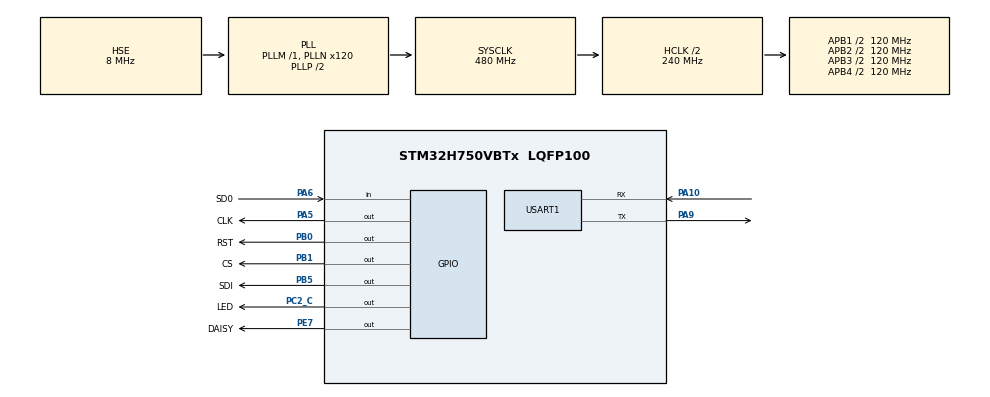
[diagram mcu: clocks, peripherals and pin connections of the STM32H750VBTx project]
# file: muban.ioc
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CORTEX_M7.CPU_DCache=Enabled
CORTEX_M7.CPU_ICache=Enabled
Mcu.Family=STM32H7
Mcu.Name=STM32H750VBTx
Mcu.Package=LQFP100
NVIC.PriorityGroup=NVIC_PRIORITYGROUP_4
NVIC.TIM1_UP_IRQn=true\:0\:0\:false\:false\:true\:true\:true
NVIC.TIM2_IRQn=true\:0\:0\:false\:false\:true\:true\:true
NVIC.USART1_IRQn=true\:0\:0\:false\:false\:true\:true\:true
PA10.Mode=Asynchronous
PA10.Signal=USART1_RX
PA13\ (JTMS/SWDIO).Mode=Serial_Wire
PA13\ (JTMS/SWDIO).Signal=DEBUG_JTMS-SWDIO
PA14\ (JTCK/SWCLK).Mode=Serial_Wire
PA14\ (JTCK/SWCLK).Signal=DEBUG_JTCK-SWCLK
PA5.GPIO_Label=CLK
PA5.Signal=GPIO_Output
PA6.GPIO_Label=SD0
PA6.Signal=GPIO_Input
PA9.Mode=Asynchronous
PA9.Signal=USART1_TX
PB0.GPIO_Label=RST
PB0.Signal=GPIO_Output
PB1.GPIO_Label=CS
PB1.Signal=GPIO_Output
PB5.GPIO_Label=SDI
PB5.Signal=GPIO_Output
PC2_C.GPIO_Label=LED
PC2_C.Signal=GPIO_Output
PE7.GPIO_Label=DAISY
PE7.Signal=GPIO_Output
PH0-OSC_IN\ (PH0).Mode=HSE-External-Oscillator
PH0-OSC_IN\ (PH0).Signal=RCC_OSC_IN
PH1-OSC_OUT\ (PH1).Mode=HSE-External-Oscillator
PH1-OSC_OUT\ (PH1).Signal=RCC_OSC_OUT
ProjectManager.HeapSize=0x200
ProjectManager.StackSize=0x400
ProjectManager.TargetToolchain=MDK-ARM V5.27
RCC.ADCFreq_Value=72000000
RCC.APB1Freq_Value=120000000
RCC.APB2Freq_Value=120000000
RCC.APB3Freq_Value=120000000
RCC.APB4Freq_Value=120000000
RCC.CortexFreq_Value=480000000
RCC.D1PPRE=RCC_APB3_DIV2
RCC.D2PPRE1=RCC_APB1_DIV2
RCC.D2PPRE2=RCC_APB2_DIV2
RCC.D3PPRE=RCC_APB4_DIV2
RCC.DIVM1=1
RCC.DIVM2=1
RCC.DIVN1=120
RCC.DIVN2=27
RCC.DIVP2=3
RCC.DIVQ1=8
RCC.HCLKFreq_Value=240000000
RCC.HPRE=RCC_HCLK_DIV2
RCC.HSE_VALUE=8000000
RCC.PLL2FRACN=0
RCC.PLL3FRACN=0
RCC.PLLFRACN=0
RCC.PLLSourceVirtual=RCC_PLLSOURCE_HSE
RCC.SYSCLKFreq_VALUE=480000000
RCC.SYSCLKSource=RCC_SYSCLKSOURCE_PLLCLK
RCC.USBFreq_Value=120000000
TIM1.AutoReloadPreload=TIM_AUTORELOAD_PRELOAD_ENABLE
TIM1.Period=10000-1
TIM1.Prescaler=24000-1
TIM2.AutoReloadPreload=TIM_AUTORELOAD_PRELOAD_ENABLE
TIM2.Period=10-1
TIM2.Prescaler=240-1
USART1.VirtualMode-Asynchronous=VM_ASYNC
VP_TIM1_VS_ClockSourceINT.Mode=Internal
VP_TIM2_VS_ClockSourceINT.Mode=Internal
board=custom

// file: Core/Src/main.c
/* USER CODE BEGIN Header */
/**
  ******************************************************************************
  * @file           : main.c
  * @brief          : Main program body
  ******************************************************************************
  * @attention
  *
  * <h2><center>&copy; Copyright (c) 2021 STMicroelectronics.
  * All rights reserved.</center></h2>
  *
  * This software component is licensed by ST under BSD 3-Clause license,
  * the "License"; You may not use this file except in compliance with the
  * License. You may obtain a copy of the License at:
  *                        opensource.org/licenses/BSD-3-Clause
  *
  ******************************************************************************
  */
/* USER CODE END Header */
#include "main.h"
#include "tim.h"
#include "usart.h"
#include "gpio.h"

/* USER CODE BEGIN Includes */
#include "stdio.h"
#include "arm_math.h"
#include "arm_const_structs.h"
#include "ads8688.h"
/* USER CODE END Includes */

/* USER CODE BEGIN PV */
uint16_t value[10000];//为啥放10000呢，我喜欢，哈哈哈哈。实际开发中记得用#define
uint32_t i;
/* USER CODE END PV */

void SystemClock_Config(void);

int main(void)
{
    /* Enable I-Cache---------------------------------------------------------*/
    SCB_EnableICache();
    /* Enable D-Cache---------------------------------------------------------*/
    SCB_EnableDCache();
    /* MCU Configuration--------------------------------------------------------*/
    /* Reset of all peripherals, Initializes the Flash interface and the Systick. */
    HAL_Init();
    /* Configure the system clock */
    SystemClock_Config();
    /* Initialize all configured peripherals */
    MX_GPIO_Init();
    MX_USART1_UART_Init();
    MX_TIM1_Init();
    MX_TIM2_Init();
    /* USER CODE BEGIN 2 */

    ADS8688_Init(CH0_EN | CH1_EN | CH2_EN | CH3_EN | CH4_EN | CH5_EN | CH6_EN | CH7_EN);

    Set_CH_Range(CHIR_0, ADS8688_IR_N2_5V);
    Set_CH_Range(CHIR_1, ADS8688_IR_N2_5V);
    Set_CH_Range(CHIR_2, ADS8688_IR_N2_5V);
    Set_CH_Range(CHIR_3, ADS8688_IR_N2_5V);
    Set_CH_Range(CHIR_4, ADS8688_IR_N2_5V);
    Set_CH_Range(CHIR_5, ADS8688_IR_N2_5V);
    Set_CH_Range(CHIR_6, ADS8688_IR_N2_5V);
    Set_CH_Range(CHIR_7, ADS8688_IR_N2_5V);
    MAN_CH_Mode(MAN_CH_0);

    value[0] = Get_MAN_CH_Mode_Data();//单次采集一次
    printf("%.2f\n", value[0] * 20.48 / 65536 - 10.24);//转换关系和采样范围有关，详见ads8688.h

    HAL_TIM_Base_Start_IT(&htim2); //用定时器去以一定频率采样

    /* USER CODE END 2 */

    /* Infinite loop */
    /* USER CODE BEGIN WHILE */
    while (1)
    {
        HAL_GPIO_TogglePin(LED_GPIO_Port, LED_Pin);
        HAL_Delay(500);
        /* USER CODE END WHILE */
    }
}

void SystemClock_Config(void)
{
    RCC_OscInitTypeDef RCC_OscInitStruct = {0};
    RCC_ClkInitTypeDef RCC_ClkInitStruct = {0};
    /** Supply configuration update enable
    */
    HAL_PWREx_ConfigSupply(PWR_LDO_SUPPLY);
    /** Configure the main internal regulator output voltage
    */
    __HAL_PWR_VOLTAGESCALING_CONFIG(PWR_REGULATOR_VOLTAGE_SCALE0);

    while (!__HAL_PWR_GET_FLAG(PWR_FLAG_VOSRDY))
    {
    }

    /** Initializes the RCC Oscillators according to the specified parameters
    * in the RCC_OscInitTypeDef structure.
    */
    RCC_OscInitStruct.OscillatorType = RCC_OSCILLATORTYPE_HSE;
    RCC_OscInitStruct.HSEState = RCC_HSE_ON;
    RCC_OscInitStruct.PLL.PLLState = RCC_PLL_ON;
    RCC_OscInitStruct.PLL.PLLSource = RCC_PLLSOURCE_HSE;
    RCC_OscInitStruct.PLL.PLLM = 1;
    RCC_OscInitStruct.PLL.PLLN = 120;
    RCC_OscInitStruct.PLL.PLLP = 2;
    RCC_OscInitStruct.PLL.PLLQ = 8;
    RCC_OscInitStruct.PLL.PLLR = 2;
    RCC_OscInitStruct.PLL.PLLRGE = RCC_PLL1VCIRANGE_3;
    RCC_OscInitStruct.PLL.PLLVCOSEL = RCC_PLL1VCOWIDE;
    RCC_OscInitStruct.PLL.PLLFRACN = 0;

    if (HAL_RCC_OscConfig(&RCC_OscInitStruct) != HAL_OK)
    {
        Error_Handler();
    }

    /** Initializes the CPU, AHB and APB buses clocks
    */
    RCC_ClkInitStruct.ClockType = RCC_CLOCKTYPE_HCLK | RCC_CLOCKTYPE_SYSCLK | RCC_CLOCKTYPE_PCLK1 | RCC_CLOCKTYPE_PCLK2 | RCC_CLOCKTYPE_D3PCLK1 | RCC_CLOCKTYPE_D1PCLK1;
    RCC_ClkInitStruct.SYSCLKSource = RCC_SYSCLKSOURCE_PLLCLK;
    RCC_ClkInitStruct.SYSCLKDivider = RCC_SYSCLK_DIV1;
    RCC_ClkInitStruct.AHBCLKDivider = RCC_HCLK_DIV2;
    RCC_ClkInitStruct.APB3CLKDivider = RCC_APB3_DIV2;
    RCC_ClkInitStruct.APB1CLKDivider = RCC_APB1_DIV2;
    RCC_ClkInitStruct.APB2CLKDivider = RCC_APB2_DIV2;
    RCC_ClkInitStruct.APB4CLKDivider = RCC_APB4_DIV2;

    if (HAL_RCC_ClockConfig(&RCC_ClkInitStruct, FLASH_LATENCY_4) != HAL_OK)
    {
        Error_Handler();
    }
}

/* USER CODE BEGIN 4 */
void HAL_TIM_PeriodElapsedCallback(TIM_HandleTypeDef *htim)
{
    if (htim == (&htim2))
    {
        value[i++] = Get_MAN_CH_Mode_Data();

        //采集满150个点后打印
        if (i == 150)
        {
            HAL_TIM_Base_Stop_IT(&htim2);

            for (i = 0; i < 150; i++)
            {
                printf("%d\t%.2f\n", i, value[i] * 20.48 / 65536 - 10.24);
            }
        }
    }
}
/* USER CODE END 4 */

void Error_Handler(void)
{
    __disable_irq();
    while (1)
    {
    }
}

/************************ (C) COPYRIGHT STMicroelectronics *****END OF FILE****/
